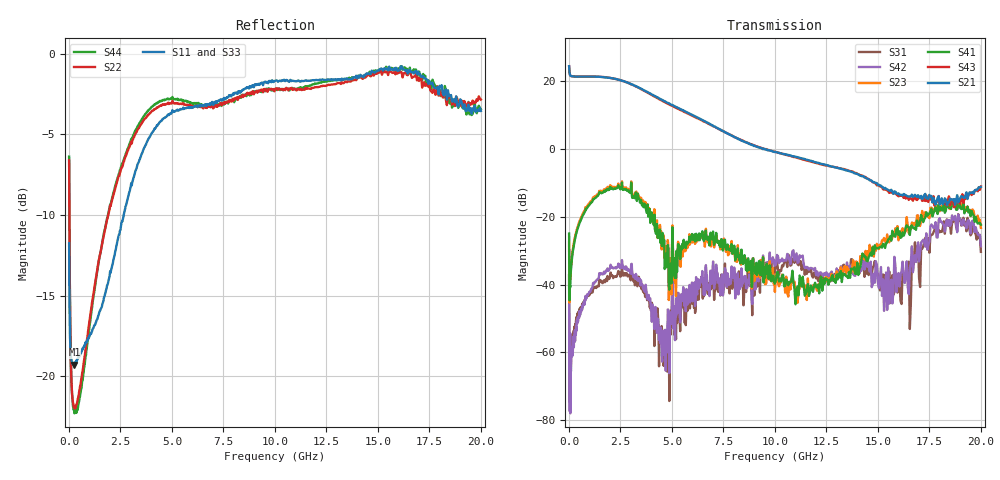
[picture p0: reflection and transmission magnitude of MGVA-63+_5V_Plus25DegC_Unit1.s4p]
!Mini-Circuits Laboratory
!S-Parameters
!Model: MGVA-63+
!Run / Lot / Date Code: NA / AH404P001-04 / 1348
!Fixture: NA; TB-561+
!AUTO PORT EXTENSION DONE: PORT<1>=113.62ps; PORT<2>=112.79ps; PORT<3>=112.29ps; PORT<4>=112.3ps
!Network Analyzer: PNA-X N5242A - 423 4 ports;  Serial number: 71256
!Date: 2/10/20114
!S/N: Unit# 1
!Correction: S11(Full 4 Port(1,2,3,4))
!S12(Full 4 Port(1,2,3,4))
!S13(Full 4 Port(1,2,3,4))
!S14(Full 4 Port(1,2,3,4))
!S21(Full 4 Port(1,2,3,4))
!S22(Full 4 Port(1,2,3,4))
!S23(Full 4 Port(1,2,3,4))
!S24(Full 4 Port(1,2,3,4))
!S31(Full 4 Port(1,2,3,4))
!S32(Full 4 Port(1,2,3,4))
!S33(Full 4 Port(1,2,3,4))
!S34(Full 4 Port(1,2,3,4))
!S41(Full 4 Port(1,2,3,4))
!S42(Full 4 Port(1,2,3,4))
!S43(Full 4 Port(1,2,3,4))
!S44(Full 4 Port(1,2,3,4))
!S4P File: Measurements: <S11,S12,S13,S14>,
!<S21,S22,S23,S24>,
!<S31,S32,S33,S34>,
!<S41,S42,S43,S44>:
# Hz S  dB  R 50
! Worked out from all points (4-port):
!   660 points, 10 MHz to 20 GHz, reference 50 ohm
!   strongest paths, dB at 10 MHz, 2.65 GHz, 6.775 GHz, 11.8 GHz, 20 GHz:
!     S21: 24.4, 20.0, 7.6, -3.6, -11.2
!     S43: 24.3, 20.0, 7.4, -3.9, -11.1
!     S41: -25.0, -12.1, -25.9, -41.4, -22.4
!     S23: -27.6, -11.7, -27.7, -41.2, -23.3
!     S42: -37.3, -35.3, -40.3, -35.3, -28.7
!     S31: -37.3, -37.4, -39.7, -37.4, -30.4
!   lowest |S11| = -19.3 dB at 270 MHz (marker M1), VSWR 1.24, Z = 40.2 + j0.967 ohm
!   |S11| at or under -10 dB: start of sweep to 2.657 GHz
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1e7  -11.75 -45.5  -27.34 24.1  -37.47 -87.6  -45.74 -75.6
     24.40 169.0  -6.60 -27.0  -27.55 -72.0  -35.30 -61.6
     -37.29 71.8  -48.81 55.6  -11.14 -50.0  -28.38 17.3
     -24.99 74.5  -37.31 57.9  24.34 169.0  -6.38 -30.8
2.7e8  -19.28 173.7  -24.53 -0.8  -52.19 77.7  -71.88 138.0
       21.34 167.0  -21.92 -63.4  -26.74 67.0  -52.83 84.5
       -54.26 85.8  -74.60 40.7  -19.21 175.2  -24.53 -1.3
       -27.25 68.2  -56.94 87.6  21.35 167.1  -22.28 -61.4
1.875e9  -14.31 130.4  -23.51 -23.7  -36.97 44.0  -59.31 106.5
         21.03 99.5  -10.19 164.6  -11.21 -39.5  -34.52 46.3
         -37.48 48.7  -60.76 100.3  -13.98 132.1  -23.54 -24.6
         -11.80 -37.5  -35.26 50.7  21.05 99.1  -10.13 162.5
3.375e9  -6.75 95.6  -23.90 -56.2  -37.92 -30.0  -55.53 73.5
         18.11 31.8  -4.63 94.5  -14.09 -161.4  -37.28 -37.0
         -37.70 -23.9  -56.97 79.7  -6.62 92.7  -24.05 -57.4
         -14.33 -161.0  -38.10 -31.0  18.06 30.6  -4.44 93.6
5.825e9  -3.31 61.3  -27.50 -90.4  -50.47 -46.4  -57.00 52.3
         10.52 -47.1  -3.17 52.5  -28.38 -108.3  -45.73 -38.4
         -43.21 -10.1  -51.33 46.2  -3.30 57.6  -27.85 -89.3
         -27.20 -87.6  -41.66 -9.3  10.28 -47.1  -2.98 56.3
8.75e9  -2.16 52.9  -30.29 -90.7  -40.34 -84.7  -37.12 -42.0
        1.45 -108.7  -2.52 50.9  -34.46 136.4  -38.25 -75.5
        -39.95 -84.6  -37.96 -43.1  -2.14 48.7  -29.88 -100.6
        -35.30 138.2  -37.07 -77.6  1.63 -110.2  -2.46 51.1
2e10  -3.54 -17.4  -32.91 -7.1  -28.80 83.8  -20.68 -60.9
      -11.22 106.8  -2.84 -8.0  -23.28 -60.8  -29.57 73.1
      -30.37 77.3  -20.86 -65.2  -3.49 -12.5  -26.90 40.8
      -22.37 -55.5  -28.71 80.2  -11.08 106.3  -3.44 -6.8
